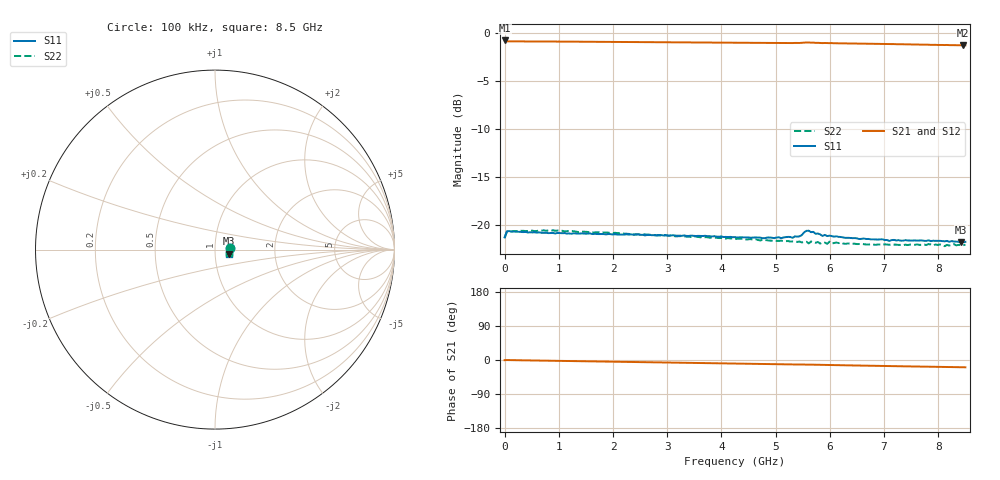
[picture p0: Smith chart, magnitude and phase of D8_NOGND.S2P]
!Keysight Technologies,E5071C,MY46733702,B.14.02
!Date: Sat Jan 27 12:06:19 2024
!Data & Calibration Information:
!Freq	S33:SOLT2(ON)	S43:SOLT2(ON)	S34:SOLT2(ON)	S44:SOLT2(ON)
!PortZ  Port3:50+j0  Port4:50+j0
!Above PortZ is port z conversion or system Z0 setting when saving the data.
!When reading, reference impedance value at option line is always used.
# Hz S dB R 50
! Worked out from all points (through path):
!   201 points, 100 kHz to 8.5 GHz, reference 50 ohm
!   highest |S21| = -0.77 dB at 100 kHz (marker M1); lowest = -1.3 dB at 8.458 GHz (marker M2)
!   group delay of S21, straight-line fit = 6.16 ps
!   lowest |S11| = -21.8 dB at 8.415 GHz (marker M3), VSWR 1.18, Z = 58.4 - j2.57 ohm
!   |S11| at or under -10 dB: start of sweep to end of sweep
!   |S22| runs from -22.3 to -20.6 dB; largest |S21 - S12| = 0.015
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100000  -21.34 4.5  -0.77 -0.5  -0.77 -0.4  -21.40 5.4
4.25995e7  -20.71 -0.8  -0.86 -0.1  -0.86 -0.1  -20.74 -0.7
7.225915e8  -20.86 -2.7  -0.88 -1.8  -0.86 -1.6  -20.59 -0.7
1.445083e9  -20.92 -4.1  -0.91 -3.4  -0.89 -3.2  -20.74 -1.9
2.847566e9  -21.10 -6.8  -0.95 -6.6  -0.95 -6.6  -21.14 -6.6
4.25005e9  -21.31 -9.3  -1.01 -9.7  -1.02 -9.7  -21.51 -10.1
5.312538e9  -21.38 -8.2  -1.04 -11.7  -1.06 -12.0  -21.76 -11.4
5.440036e9  -21.23 -7.8  -1.03 -12.0  -1.07 -12.3  -21.77 -10.8
5.567534e9  -20.65 -6.5  -0.98 -12.1  -1.08 -12.5  -21.79 -10.6
5.610034e9  -20.64 -5.6  -0.98 -12.0  -1.09 -12.7  -21.97 -11.7
5.652534e9  -20.80 -6.5  -1.00 -12.2  -1.08 -12.8  -21.77 -11.5
5.695033e9  -20.76 -6.3  -1.00 -12.3  -1.09 -12.8  -21.88 -11.1
5.865031e9  -21.19 -7.8  -1.05 -12.9  -1.09 -13.3  -21.86 -11.7
5.95003e9  -21.20 -7.8  -1.05 -13.0  -1.11 -13.5  -22.01 -11.5
5.99253e9  -21.16 -8.5  -1.05 -13.3  -1.10 -13.6  -21.78 -11.6
7.097516e9  -21.71 -12.7  -1.15 -16.0  -1.18 -16.0  -22.11 -11.8
7.820008e9  -21.64 -14.6  -1.21 -17.7  -1.23 -17.6  -22.04 -11.5
8.117504e9  -21.75 -15.0  -1.25 -18.4  -1.25 -18.2  -22.26 -12.5
8.287502e9  -21.77 -15.7  -1.26 -18.7  -1.26 -18.5  -22.04 -12.5
8.415001e9  -21.84 -15.7  -1.27 -19.0  -1.27 -18.8  -22.13 -12.5
8.4575e9  -21.84 -15.9  -1.28 -19.1  -1.28 -18.9  -22.16 -12.1
8.5e9  -21.80 -16.3  -1.28 -19.3  -1.28 -19.0  -22.10 -12.6
